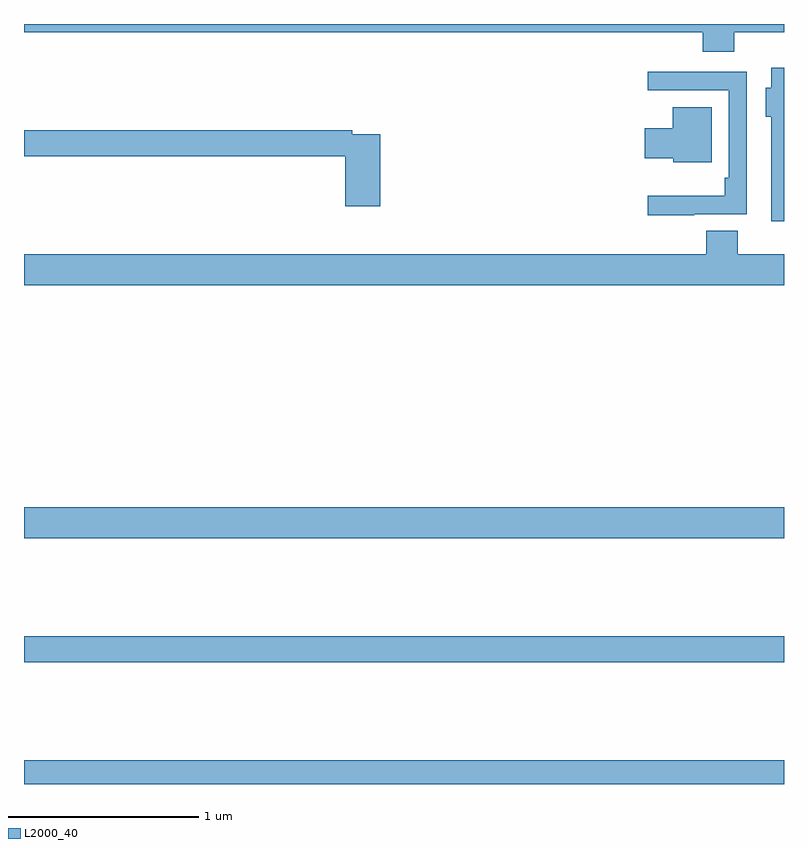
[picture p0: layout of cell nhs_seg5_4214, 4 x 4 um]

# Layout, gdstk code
import gdstk
lib = gdstk.Library(unit=1e-6, precision=1e-09)
def R(c, l, rs):  # rectangles x0, y0, x1, y1
    for r in rs: c.add(gdstk.rectangle(r[:2], r[2:], *l))
def P(c, l, *ps):  # polygons
    for p in ps: c.add(gdstk.Polygon(p, *l))
L2000_40 = (2000, 40)

nhs_seg5_4214 = lib.new_cell('nhs_seg5_4214')
R(nhs_seg5_4214, L2000_40, [(359,856.799,363,856.924), (359,857.44,363,857.576), (359,858.092,363,858.256)])
P(nhs_seg5_4214, L2000_40, [(362.738,860.756),(363,860.756),(363,860.799),(359,860.799),(359,860.756),(362.573,860.756),(362.573,860.654),(362.738,860.654)],
  [(363,860.57),(362.934,860.57),(362.934,860.464),(362.903,860.464),(362.903,860.312),(362.934,860.312),(362.934,859.761),(363,859.761)],
  [(362.527,859.797),(362.805,859.797),(362.805,860.547),(362.283,860.547),(362.283,860.451),(362.709,860.451),(362.709,859.99),(362.689,859.99),(362.689,859.894),(362.283,859.894),(362.283,859.793),(362.527,859.793)],
  [(362.62,860.362),(362.414,860.362),(362.414,860.251),(362.268,860.251),(362.268,860.093),(362.418,860.093),(362.418,860.072),(362.62,860.072)],
  [(360.875,860.22),(360.728,860.22),(360.728,860.24),(359,860.24),(359,860.104),(360.692,860.104),(360.692,859.839),(360.875,859.839)],
  [(363,859.588),(362.756,859.588),(362.756,859.712),(362.591,859.712),(362.591,859.588),(359,859.588),(359,859.424),(363,859.424)])

lib.write_gds('nhs_seg5_4214.gds')
